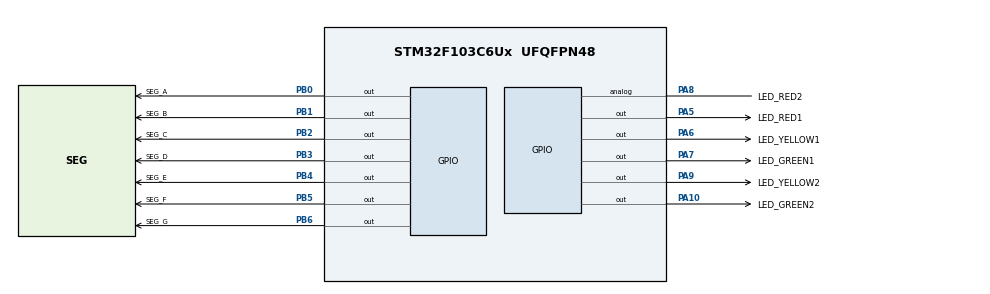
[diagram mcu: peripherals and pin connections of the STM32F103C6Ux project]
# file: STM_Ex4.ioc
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Mcu.Family=STM32F1
Mcu.Name=STM32F103C6Ux
Mcu.Package=UFQFPN48
NVIC.PriorityGroup=NVIC_PRIORITYGROUP_4
PA10.GPIO_Label=LED_GREEN2
PA10.Signal=GPIO_Output
PA5.GPIO_Label=LED_RED1
PA5.Signal=GPIO_Output
PA6.GPIO_Label=LED_YELLOW1
PA6.Signal=GPIO_Output
PA7.GPIO_Label=LED_GREEN1
PA7.Signal=GPIO_Output
PA8.GPIO_Label=LED_RED2
PA8.Signal=GPIO_Analog
PA9.GPIO_Label=LED_YELLOW2
PA9.Signal=GPIO_Output
PB0.GPIO_Label=SEG_A
PB0.Signal=GPIO_Output
PB1.GPIO_Label=SEG_B
PB1.Signal=GPIO_Output
PB2.GPIO_Label=SEG_C
PB2.Signal=GPIO_Output
PB3.GPIO_Label=SEG_D
PB3.Signal=GPIO_Output
PB4.GPIO_Label=SEG_E
PB4.Signal=GPIO_Output
PB5.GPIO_Label=SEG_F
PB5.Signal=GPIO_Output
PB6.GPIO_Label=SEG_G
PB6.Signal=GPIO_Output
ProjectManager.HeapSize=0x200
ProjectManager.StackSize=0x400
ProjectManager.TargetToolchain=STM32CubeIDE
RCC.APB1Freq_Value=8000000
RCC.APB2Freq_Value=8000000
VP_SYS_VS_ND.Mode=No_Debug
board=custom

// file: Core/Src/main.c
/* USER CODE BEGIN Header */
/**
  ******************************************************************************
  * @file           : main.c
  * @brief          : Main program body
  ******************************************************************************
  * @attention
  *
  * <h2><center>&copy; Copyright (c) 2022 STMicroelectronics.
  * All rights reserved.</center></h2>
  *
  * This software component is licensed by ST under BSD 3-Clause license,
  * the "License"; You may not use this file except in compliance with the
  * License. You may obtain a copy of the License at:
  *                        opensource.org/licenses/BSD-3-Clause
  *
  ******************************************************************************
  */
/* USER CODE END Header */
#include "main.h"

void SystemClock_Config(void);
static void MX_GPIO_Init(void);

int main(void)
{

  /* MCU Configuration--------------------------------------------------------*/

  /* Reset of all peripherals, Initializes the Flash interface and the Systick. */
  HAL_Init();

  /* Configure the system clock */
  SystemClock_Config();

  /* Initialize all configured peripherals */
  MX_GPIO_Init();

  /* Infinite loop */
  /* USER CODE BEGIN WHILE */
	int count1 = 0, count2 = 0;
	void LED_RED1_toggle()
	{
	  HAL_GPIO_WritePin(LED_RED1_GPIO_Port, LED_RED1_Pin, RESET);
	  HAL_GPIO_WritePin(LED_YELLOW1_GPIO_Port, LED_YELLOW1_Pin, SET);
	  HAL_GPIO_WritePin(LED_GREEN1_GPIO_Port, LED_GREEN1_Pin, SET);
	}
	void LED_GREEN1_toggle()
	{
	  HAL_GPIO_WritePin(LED_RED1_GPIO_Port, LED_RED1_Pin, SET);
	  HAL_GPIO_WritePin(LED_YELLOW1_GPIO_Port, LED_YELLOW1_Pin, SET);
	  HAL_GPIO_WritePin(LED_GREEN1_GPIO_Port, LED_GREEN1_Pin, RESET);
	}
	void LED_YELLOW1_toggle()
	{
	  HAL_GPIO_WritePin(LED_RED1_GPIO_Port, LED_RED1_Pin, SET);
	  HAL_GPIO_WritePin(LED_YELLOW1_GPIO_Port, LED_YELLOW1_Pin, RESET);
	  HAL_GPIO_WritePin(LED_GREEN1_GPIO_Port, LED_GREEN1_Pin, SET);
	}
	void LED_RED2_toggle()
	{
	  HAL_GPIO_WritePin(LED_RED2_GPIO_Port, LED_RED2_Pin, RESET);
	  HAL_GPIO_WritePin(LED_YELLOW2_GPIO_Port, LED_YELLOW2_Pin, SET);
	  HAL_GPIO_WritePin(LED_GREEN2_GPIO_Port, LED_GREEN2_Pin, SET);
	}
	void LED_GREEN2_toggle()
	{
	  HAL_GPIO_WritePin(LED_RED2_GPIO_Port, LED_RED2_Pin, SET);
	  HAL_GPIO_WritePin(LED_YELLOW2_GPIO_Port, LED_YELLOW2_Pin, SET);
	  HAL_GPIO_WritePin(LED_GREEN2_GPIO_Port, LED_GREEN2_Pin, RESET);
	}
	void LED_YELLOW2_toggle()
	{
	  HAL_GPIO_WritePin(LED_RED2_GPIO_Port, LED_RED2_Pin, SET);
	  HAL_GPIO_WritePin(LED_YELLOW2_GPIO_Port, LED_YELLOW2_Pin, RESET);
	  HAL_GPIO_WritePin(LED_GREEN2_GPIO_Port, LED_GREEN2_Pin, SET);
	}
	// Function to display numbers on 7 LED segment
	void display7SEG(int num)
	{
		// Use switch case syntax for every value of num
		switch(num)
		{
		case 0:
			HAL_GPIO_WritePin(SEG_A_GPIO_Port, SEG_A_Pin, RESET);
			HAL_GPIO_WritePin(SEG_B_GPIO_Port, SEG_B_Pin, RESET);
			HAL_GPIO_WritePin(SEG_C_GPIO_Port, SEG_C_Pin, RESET);
			HAL_GPIO_WritePin(SEG_D_GPIO_Port, SEG_D_Pin, RESET);
			HAL_GPIO_WritePin(SEG_E_GPIO_Port, SEG_E_Pin, RESET);
			HAL_GPIO_WritePin(SEG_F_GPIO_Port, SEG_F_Pin, RESET);
			HAL_GPIO_WritePin(SEG_G_GPIO_Port, SEG_G_Pin, SET);
			break;
		case 1:
			HAL_GPIO_WritePin(SEG_A_GPIO_Port, SEG_A_Pin, SET);
			HAL_GPIO_WritePin(SEG_B_GPIO_Port, SEG_B_Pin, RESET);
			HAL_GPIO_WritePin(SEG_C_GPIO_Port, SEG_C_Pin, RESET);
			HAL_GPIO_WritePin(SEG_D_GPIO_Port, SEG_D_Pin, SET);
			HAL_GPIO_WritePin(SEG_E_GPIO_Port, SEG_E_Pin, SET);
			HAL_GPIO_WritePin(SEG_F_GPIO_Port, SEG_F_Pin, SET);
			HAL_GPIO_WritePin(SEG_G_GPIO_Port, SEG_G_Pin, SET);
			break;
		case 2:
			HAL_GPIO_WritePin(SEG_A_GPIO_Port, SEG_A_Pin, RESET);
			HAL_GPIO_WritePin(SEG_B_GPIO_Port, SEG_B_Pin, RESET);
			HAL_GPIO_WritePin(SEG_C_GPIO_Port, SEG_C_Pin, SET);
			HAL_GPIO_WritePin(SEG_D_GPIO_Port, SEG_D_Pin, RESET);
			HAL_GPIO_WritePin(SEG_E_GPIO_Port, SEG_E_Pin, RESET);
			HAL_GPIO_WritePin(SEG_F_GPIO_Port, SEG_F_Pin, SET);
			HAL_GPIO_WritePin(SEG_G_GPIO_Port, SEG_G_Pin, RESET);
			break;
		case 3:
			HAL_GPIO_WritePin(SEG_A_GPIO_Port, SEG_A_Pin, RESET);
			HAL_GPIO_WritePin(SEG_B_GPIO_Port, SEG_B_Pin, RESET);
			HAL_GPIO_WritePin(SEG_C_GPIO_Port, SEG_C_Pin, RESET);
			HAL_GPIO_WritePin(SEG_D_GPIO_Port, SEG_D_Pin, RESET);
			HAL_GPIO_WritePin(SEG_E_GPIO_Port, SEG_E_Pin, SET);
			HAL_GPIO_WritePin(SEG_F_GPIO_Port, SEG_F_Pin, SET);
			HAL_GPIO_WritePin(SEG_G_GPIO_Port, SEG_G_Pin, RESET);
			break;
		case 4:
			HAL_GPIO_WritePin(SEG_A_GPIO_Port, SEG_A_Pin, SET);
			HAL_GPIO_WritePin(SEG_B_GPIO_Port, SEG_B_Pin, RESET);
			HAL_GPIO_WritePin(SEG_C_GPIO_Port, SEG_C_Pin, RESET);
			HAL_GPIO_WritePin(SEG_D_GPIO_Port, SEG_D_Pin, SET);
			HAL_GPIO_WritePin(SEG_E_GPIO_Port, SEG_E_Pin, SET);
			HAL_GPIO_WritePin(SEG_F_GPIO_Port, SEG_F_Pin, RESET);
			HAL_GPIO_WritePin(SEG_G_GPIO_Port, SEG_G_Pin, RESET);
			break;
		case 5:
			HAL_GPIO_WritePin(SEG_A_GPIO_Port, SEG_A_Pin, RESET);
			HAL_GPIO_WritePin(SEG_B_GPIO_Port, SEG_B_Pin, SET);
			HAL_GPIO_WritePin(SEG_C_GPIO_Port, SEG_C_Pin, RESET);
			HAL_GPIO_WritePin(SEG_D_GPIO_Port, SEG_D_Pin, RESET);
			HAL_GPIO_WritePin(SEG_E_GPIO_Port, SEG_E_Pin, SET);
			HAL_GPIO_WritePin(SEG_F_GPIO_Port, SEG_F_Pin, RESET);
			HAL_GPIO_WritePin(SEG_G_GPIO_Port, SEG_G_Pin, RESET);
			break;
		case 6:
			HAL_GPIO_WritePin(SEG_A_GPIO_Port, SEG_A_Pin, RESET);
			HAL_GPIO_WritePin(SEG_B_GPIO_Port, SEG_B_Pin, SET);
			HAL_GPIO_WritePin(SEG_C_GPIO_Port, SEG_C_Pin, RESET);
			HAL_GPIO_WritePin(SEG_D_GPIO_Port, SEG_D_Pin, RESET);
			HAL_GPIO_WritePin(SEG_E_GPIO_Port, SEG_E_Pin, RESET);
			HAL_GPIO_WritePin(SEG_F_GPIO_Port, SEG_F_Pin, RESET);
			HAL_GPIO_WritePin(SEG_G_GPIO_Port, SEG_G_Pin, RESET);
			break;
		case 7:
			HAL_GPIO_WritePin(SEG_A_GPIO_Port, SEG_A_Pin, RESET);
			HAL_GPIO_WritePin(SEG_B_GPIO_Port, SEG_B_Pin, RESET);
			HAL_GPIO_WritePin(SEG_C_GPIO_Port, SEG_C_Pin, RESET);
			HAL_GPIO_WritePin(SEG_D_GPIO_Port, SEG_D_Pin, SET);
			HAL_GPIO_WritePin(SEG_E_GPIO_Port, SEG_E_Pin, SET);
			HAL_GPIO_WritePin(SEG_F_GPIO_Port, SEG_F_Pin, SET);
			HAL_GPIO_WritePin(SEG_G_GPIO_Port, SEG_G_Pin, SET);
			break;
		case 8:
			HAL_GPIO_WritePin(SEG_A_GPIO_Port, SEG_A_Pin, RESET);
			HAL_GPIO_WritePin(SEG_B_GPIO_Port, SEG_B_Pin, RESET);
			HAL_GPIO_WritePin(SEG_C_GPIO_Port, SEG_C_Pin, RESET);
			HAL_GPIO_WritePin(SEG_D_GPIO_Port, SEG_D_Pin, RESET);
			HAL_GPIO_WritePin(SEG_E_GPIO_Port, SEG_E_Pin, RESET);
			HAL_GPIO_WritePin(SEG_F_GPIO_Port, SEG_F_Pin, RESET);
			HAL_GPIO_WritePin(SEG_G_GPIO_Port, SEG_G_Pin, RESET);
			break;
		case 9:
			HAL_GPIO_WritePin(SEG_A_GPIO_Port, SEG_A_Pin, RESET);
			HAL_GPIO_WritePin(SEG_B_GPIO_Port, SEG_B_Pin, RESET);
			HAL_GPIO_WritePin(SEG_C_GPIO_Port, SEG_C_Pin, RESET);
			HAL_GPIO_WritePin(SEG_D_GPIO_Port, SEG_D_Pin, RESET);
			HAL_GPIO_WritePin(SEG_E_GPIO_Port, SEG_E_Pin, SET);
			HAL_GPIO_WritePin(SEG_F_GPIO_Port, SEG_F_Pin, RESET);
			HAL_GPIO_WritePin(SEG_G_GPIO_Port, SEG_G_Pin, RESET);
			break;
		}
	}

   while (1)
   {
	  // Display the counter each iteration
	  display7SEG(count1);

 	  // For counter 1
 	  if ((count1 >= 0) && (count1 < 5))
 	  {
 		  LED_RED1_toggle();
 	  }
 	  if ((count1 >= 5) && (count1 < 8))
 	  {
 		  LED_GREEN1_toggle();
 	  }
 	  if ((count1 >= 8) && (count1 < 10))
 	  {
 		  LED_YELLOW1_toggle();
 	  }

 	  // For counter 2
 	  if ((count2 >= 0) && (count2 < 3))
 	  {
 		  LED_GREEN2_toggle();
 	  }
 	  if ((count2 >= 3) && (count2 < 5))
 	  {
 		  LED_YELLOW2_toggle();
 	  }
 	  if ((count2 >= 5) && (count2 < 10))
 	  {
 		  LED_RED2_toggle();
 	  }
 	  // Add count indexes
 	  count1++; count2++;

 	  // Reset count indexes
 	  if (count1 >= 10)
 	  {
 		  count1 = 0;
 	  }
 	  if (count2 >= 10)
 	  {
 		  count2 = 0;
 	  }
 	  HAL_Delay(1000);

    /* USER CODE END WHILE */

   }
}

void SystemClock_Config(void)
{
  RCC_OscInitTypeDef RCC_OscInitStruct = {0};
  RCC_ClkInitTypeDef RCC_ClkInitStruct = {0};

  /** Initializes the RCC Oscillators according to the specified parameters
  * in the RCC_OscInitTypeDef structure.
  */
  RCC_OscInitStruct.OscillatorType = RCC_OSCILLATORTYPE_HSI;
  RCC_OscInitStruct.HSIState = RCC_HSI_ON;
  RCC_OscInitStruct.HSICalibrationValue = RCC_HSICALIBRATION_DEFAULT;
  RCC_OscInitStruct.PLL.PLLState = RCC_PLL_NONE;
  if (HAL_RCC_OscConfig(&RCC_OscInitStruct) != HAL_OK)
  {
    Error_Handler();
  }
  /** Initializes the CPU, AHB and APB buses clocks
  */
  RCC_ClkInitStruct.ClockType = RCC_CLOCKTYPE_HCLK|RCC_CLOCKTYPE_SYSCLK
                              |RCC_CLOCKTYPE_PCLK1|RCC_CLOCKTYPE_PCLK2;
  RCC_ClkInitStruct.SYSCLKSource = RCC_SYSCLKSOURCE_HSI;
  RCC_ClkInitStruct.AHBCLKDivider = RCC_SYSCLK_DIV1;
  RCC_ClkInitStruct.APB1CLKDivider = RCC_HCLK_DIV1;
  RCC_ClkInitStruct.APB2CLKDivider = RCC_HCLK_DIV1;

  if (HAL_RCC_ClockConfig(&RCC_ClkInitStruct, FLASH_LATENCY_0) != HAL_OK)
  {
    Error_Handler();
  }
}

static void MX_GPIO_Init(void)
{
  GPIO_InitTypeDef GPIO_InitStruct = {0};

  /* GPIO Ports Clock Enable */
  __HAL_RCC_GPIOA_CLK_ENABLE();
  __HAL_RCC_GPIOB_CLK_ENABLE();

  /*Configure GPIO pin Output Level */
  HAL_GPIO_WritePin(GPIOA, LED_RED1_Pin|LED_YELLOW1_Pin|LED_GREEN1_Pin|LED_YELLOW2_Pin
                          |LED_GREEN2_Pin, GPIO_PIN_RESET);

  /*Configure GPIO pin Output Level */
  HAL_GPIO_WritePin(GPIOB, SEG_A_Pin|SEG_B_Pin|SEG_C_Pin|SEG_D_Pin
                          |SEG_E_Pin|SEG_F_Pin|SEG_G_Pin, GPIO_PIN_RESET);

  /*Configure GPIO pins : LED_RED1_Pin LED_YELLOW1_Pin LED_GREEN1_Pin LED_YELLOW2_Pin
                           LED_GREEN2_Pin */
  GPIO_InitStruct.Pin = LED_RED1_Pin|LED_YELLOW1_Pin|LED_GREEN1_Pin|LED_YELLOW2_Pin
                          |LED_GREEN2_Pin;
  GPIO_InitStruct.Mode = GPIO_MODE_OUTPUT_PP;
  GPIO_InitStruct.Pull = GPIO_NOPULL;
  GPIO_InitStruct.Speed = GPIO_SPEED_FREQ_LOW;
  HAL_GPIO_Init(GPIOA, &GPIO_InitStruct);

  /*Configure GPIO pins : SEG_A_Pin SEG_B_Pin SEG_C_Pin SEG_D_Pin
                           SEG_E_Pin SEG_F_Pin SEG_G_Pin */
  GPIO_InitStruct.Pin = SEG_A_Pin|SEG_B_Pin|SEG_C_Pin|SEG_D_Pin
                          |SEG_E_Pin|SEG_F_Pin|SEG_G_Pin;
  GPIO_InitStruct.Mode = GPIO_MODE_OUTPUT_PP;
  GPIO_InitStruct.Pull = GPIO_NOPULL;
  GPIO_InitStruct.Speed = GPIO_SPEED_FREQ_LOW;
  HAL_GPIO_Init(GPIOB, &GPIO_InitStruct);

  /*Configure GPIO pin : LED_RED2_Pin */
  GPIO_InitStruct.Pin = LED_RED2_Pin;
  GPIO_InitStruct.Mode = GPIO_MODE_ANALOG;
  HAL_GPIO_Init(LED_RED2_GPIO_Port, &GPIO_InitStruct);

}

void Error_Handler(void)
{
  __disable_irq();
  while (1)
  {
  }
}

/************************ (C) COPYRIGHT STMicroelectronics *****END OF FILE****/
